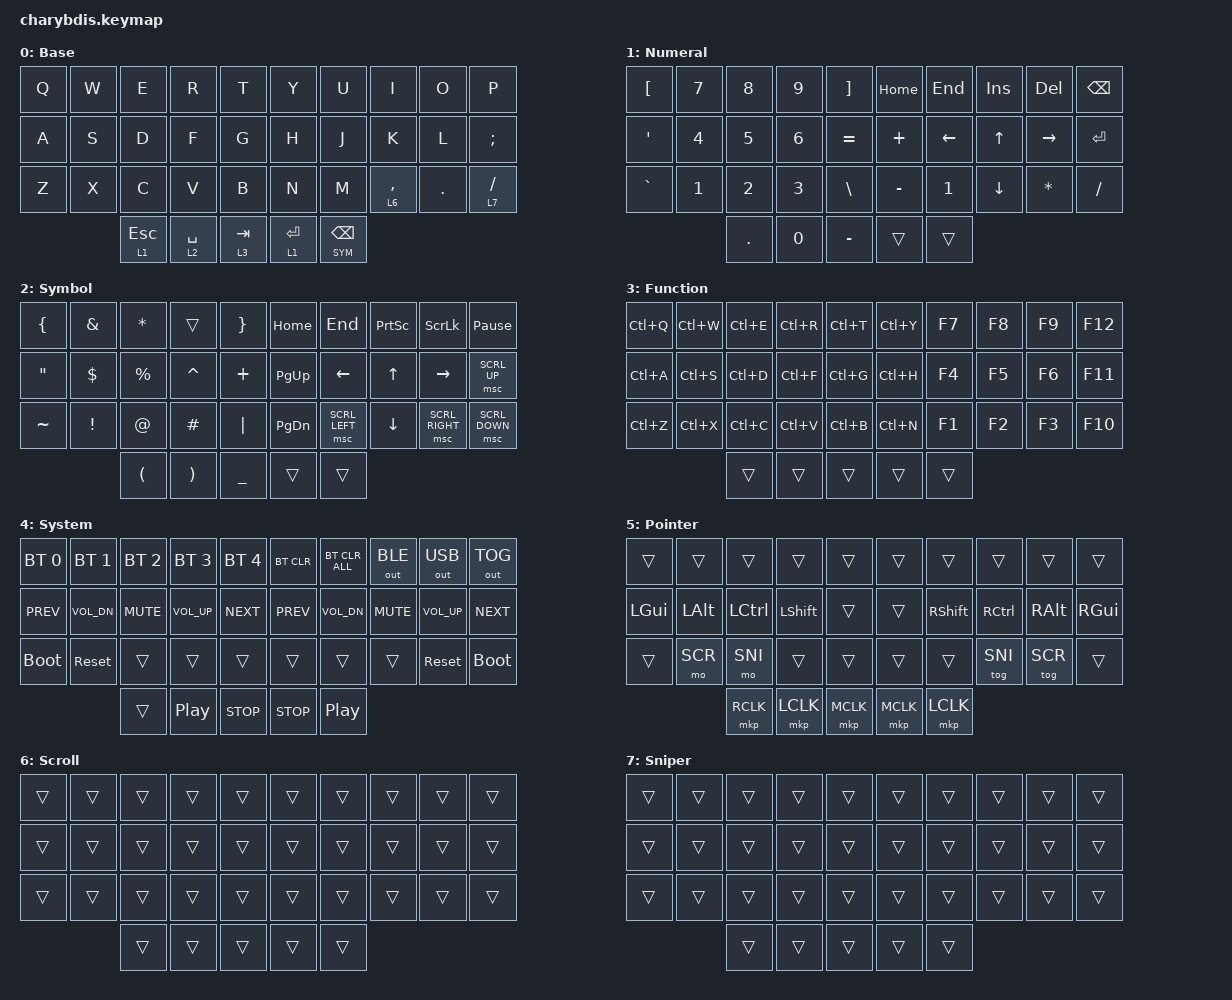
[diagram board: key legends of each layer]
#include <dt-bindings/zmk/mouse.h>
#include <behaviors/mouse_keys.dtsi>
#include <behaviors.dtsi>
#include <dt-bindings/zmk/bt.h>
#include <dt-bindings/zmk/keys.h>
#include <dt-bindings/zmk/outputs.h>

#define BASE 0
#define NUFU 1
#define SYM 2
#define NAV 3
#define MED 4
#define POI 5
#define SCR 6
#define SNI 7

&sl { release-after-ms = <250>; };

&mt {
    tapping-term-ms = <200>;
    quick-tap-ms = <150>;
    flavor = "tap-preferred";
};

&lt { quick-tap-ms = <180>; };

/ {
    chosen { zmk,matrix_transform = &five_column_transform; };

    behaviors {
        hml: homewrow_mods_left {
            compatible = "zmk,behavior-hold-tap";
            label = "HOMEROW_MODS_LEFT_HAND";
            bindings = <&kp>, <&kp>;

            #binding-cells = <2>;
            tapping-term-ms = <280>;
            hold-trigger-key-positions = <5 6 7 8 9 15 16 17 18 19 25 26 27 28 29 33 34>;
            flavor = "balanced";
            quick-tap-ms = <175>;
            require-prior-idle-ms = <125>;
            hold-trigger-on-release;
        };

        hmr: homewrow_mods_right {
            compatible = "zmk,behavior-hold-tap";
            label = "HOMEROW_MODS_RIGHT_HAND";
            bindings = <&kp>, <&kp>;

            #binding-cells = <2>;
            tapping-term-ms = <280>;
            hold-trigger-key-positions = <0 1 2 3 4 10 11 12 13 14 20 21 22 23 24 30 31 32>;
            flavor = "balanced";
            quick-tap-ms = <175>;
            require-prior-idle-ms = <125>;
            hold-trigger-on-release;
        };
    };

    combos {
        compatible = "zmk,combos";

        combo_lwin {
            bindings = <&kp LWIN>;
            key-positions = <14 13>;
            timeout-ms = <50>;
            require-prior-idle-ms = <100>;
            slow-release;
            layers = <0 1 2 3 5 6 7>;
        };

        combo_lshft {
            bindings = <&kp LSHIFT>;
            key-positions = <13 12>;
            timeout-ms = <50>;
            require-prior-idle-ms = <100>;
            slow-release;
            layers = <0 1 2 3 5 6 7>;
        };

        combo_lctrl {
            bindings = <&kp LCTRL>;
            key-positions = <12 11>;
            timeout-ms = <50>;
            require-prior-idle-ms = <100>;
            slow-release;
            layers = <0 1 2 3 5 6 7>;
        };

        combo_lalt {
            bindings = <&kp LALT>;
            key-positions = <11 10>;
            timeout-ms = <50>;
            require-prior-idle-ms = <100>;
            slow-release;
            layers = <0 1 2 3 5 6 7>;
        };

        combo_rwin {
            bindings = <&kp LWIN>;
            key-positions = <15 16>;
            timeout-ms = <50>;
            require-prior-idle-ms = <100>;
            slow-release;
            layers = <0 1 2 3 5 6 7>;
        };

        combo_rshft {
            bindings = <&kp LSHIFT>;
            key-positions = <17 16>;
            timeout-ms = <50>;
            require-prior-idle-ms = <100>;
            slow-release;
            layers = <0 1 2 3 5 6 7>;
        };

        combo_rctrl {
            bindings = <&kp LCTRL>;
            key-positions = <17 18>;
            timeout-ms = <50>;
            require-prior-idle-ms = <100>;
            slow-release;
            layers = <0 1 2 3 5 6 7>;
        };

        combo_ralt {
            bindings = <&kp LALT>;
            key-positions = <19 18>;
            timeout-ms = <50>;
            require-prior-idle-ms = <100>;
            slow-release;
            layers = <0 1 2 3 5 6 7>;
        };

        combo_lshft_lctrl {
            bindings = <&kp LC(LSHFT)>;
            key-positions = <13 12 11>;
            timeout-ms = <50>;
            require-prior-idle-ms = <100>;
            slow-release;
            layers = <0 1 2 3 5 6 7>;
        };

        combo_lshft_lalt {
            bindings = <&kp LS(LALT)>;
            key-positions = <13 12 10>;
            timeout-ms = <50>;
            require-prior-idle-ms = <100>;
            slow-release;
            layers = <0 1 2 3 5 6 7>;
        };

        combo_lctrl_lalt {
            bindings = <&kp LC(LALT)>;
            key-positions = <12 11 10>;
            timeout-ms = <50>;
            require-prior-idle-ms = <100>;
            slow-release;
            layers = <0 1 2 3 5 6 7>;
        };

        combo_lctrl_lwin {
            bindings = <&kp LC(LWIN)>;
            key-positions = <12 11 10 13>;
            timeout-ms = <50>;
            require-prior-idle-ms = <100>;
            slow-release;
            layers = <0 1 2 3 5 6 7>;
        };

        combo_rshft_rctrl {
            bindings = <&kp LC(LSHFT)>;
            key-positions = <16 17 18>;
            timeout-ms = <50>;
            require-prior-idle-ms = <100>;
            slow-release;
            layers = <0 1 2 3 5 6 7>;
        };

        combo_rshft_ralt {
            bindings = <&kp LS(LALT)>;
            key-positions = <16 17 19>;
            timeout-ms = <50>;
            require-prior-idle-ms = <100>;
            slow-release;
            layers = <0 1 2 3 5 6 7>;
        };

        combo_rctrl_ralt {
            bindings = <&kp LC(LALT)>;
            key-positions = <19 18 17>;
            timeout-ms = <50>;
            require-prior-idle-ms = <100>;
            slow-release;
            layers = <0 1 2 3 5 6 7>;
        };

        combo_rctrl_rwin {
            bindings = <&kp LC(LWIN)>;
            key-positions = <16 17 18 19>;
            timeout-ms = <50>;
            require-prior-idle-ms = <100>;
            slow-release;
            layers = <0 1 2 3 5 6 7>;
        };

        combo_undo {
            bindings = <&kp LC(Z)>;
            key-positions = <20 21>;
            timeout-ms = <50>;
            require-prior-idle-ms = <100>;
            slow-release;
            layers = <0 1 2 3 5 6 7>;
        };

        combo_copy {
            bindings = <&kp LC(C)>;
            key-positions = <21 22>;
            timeout-ms = <50>;
            require-prior-idle-ms = <100>;
            slow-release;
            layers = <0 1 2 3 5 6 7>;
        };

        combo_paste {
            bindings = <&kp LC(V)>;
            key-positions = <22 23>;
            timeout-ms = <50>;
            require-prior-idle-ms = <100>;
            slow-release;
            layers = <0 1 2 3 5 6 7>;
        };

        combo_cut {
            bindings = <&kp LC(X)>;
            key-positions = <23 21>;
            timeout-ms = <50>;
            require-prior-idle-ms = <100>;
            slow-release;
            layers = <0 1 2 3 5 6 7>;
        };

        combo_redo {
            bindings = <&kp LC(Y)>;
            key-positions = <23 24>;
            timeout-ms = <50>;
            require-prior-idle-ms = <100>;
            slow-release;
            layers = <0 1 2 3 5 6 7>;
        };

        combo_lang {
            bindings = <&kp RALT>;
            key-positions = <18 16>;
            timeout-ms = <50>;
            require-prior-idle-ms = <100>;
            slow-release;
            layers = <0 1 2 3 5 6 7>;
        };

        combo_hanja {
            bindings = <&kp RCTRL>;
            key-positions = <17 19>;
            timeout-ms = <50>;
            require-prior-idle-ms = <100>;
            slow-release;
            layers = <0 1 2 3 5 6 7>;
        };

        combo_lclk {
            bindings = <&mkp LCLK>;
            key-positions = <26 27>;
            timeout-ms = <50>;
            require-prior-idle-ms = <100>;
            slow-release;
            layers = <0 1 2 3 5 6 7>;
        };

        combo_rclk {
            bindings = <&mkp RCLK>;
            key-positions = <28 27>;
            timeout-ms = <50>;
            require-prior-idle-ms = <100>;
            slow-release;
            layers = <0 1 2 3 5 6 7>;
        };

        combo_mclk {
            bindings = <&mkp MCLK>;
            key-positions = <28 27 26>;
            timeout-ms = <50>;
            require-prior-idle-ms = <100>;
            slow-release;
            layers = <0 1 2 3 5 6 7>;
        };

        combo_prev {
            bindings = <&mkp MB4>;
            key-positions = <26 16>;
            timeout-ms = <50>;
            require-prior-idle-ms = <100>;
            slow-release;
            layers = <0 1 2 3 5 6 7>;
        };

        combo_next {
            bindings = <&mkp MB5>;
            key-positions = <27 17>;
            timeout-ms = <50>;
            require-prior-idle-ms = <100>;
            slow-release;
            layers = <0 1 2 3 5 6 7>;
        };

        combo_plus {
            bindings = <&kp PLUS>;
            key-positions = <4 14>;
            timeout-ms = <50>;
            require-prior-idle-ms = <100>;
            slow-release;
            layers = <1>;
        };

        combo_minus {
            bindings = <&kp MINUS>;
            key-positions = <3 13>;
            timeout-ms = <50>;
            require-prior-idle-ms = <100>;
            slow-release;
            layers = <1>;
        };

        combo_multiply {
            bindings = <&kp ASTRK>;
            key-positions = <2 12>;
            timeout-ms = <50>;
            require-prior-idle-ms = <100>;
            slow-release;
            layers = <1>;
        };

        combo_divide {
            bindings = <&kp SLASH>;
            key-positions = <1 11>;
            timeout-ms = <50>;
            require-prior-idle-ms = <100>;
            slow-release;
            layers = <1>;
        };

        combo_enter {
            bindings = <&kp ENTER>;
            key-positions = <14 24>;
            timeout-ms = <50>;
            require-prior-idle-ms = <100>;
            slow-release;
            layers = <1>;
        };

        combo_comma {
            bindings = <&kp COMMA>;
            key-positions = <23 13>;
            timeout-ms = <50>;
            require-prior-idle-ms = <100>;
            slow-release;
            layers = <1>;
        };

        combo_fun {
            bindings = <&mo 3>;
            key-positions = <33 34>;
            timeout-ms = <50>;
            slow-release;
            require-prior-idle-ms = <100>;
            layers = <0>;
        };
    };

    keymap {
        compatible = "zmk,keymap";

        Base {
            label = "Base";
            bindings = <
  &kp Q  &kp W  &kp E      &kp R        &kp T        &kp Y        &kp U         &kp I        &kp O    &kp P
  &kp A  &kp S  &kp D      &kp F        &kp G        &kp H        &kp J         &kp K        &kp L    &kp SEMI
  &kp Z  &kp X  &kp C      &kp V        &kp B        &kp N        &kp M         &lt 6 COMMA  &kp DOT  &lt 7 SLASH
                &lt 1 ESC  &lt 2 SPACE  &lt 3 TAB    &lt 1 ENTER  &lt SYM BSPC
            >;
        };

        Num {
            label = "Numeral";
            bindings = <
  &kp LBKT   &kp N7  &kp N8   &kp N9  &kp RBKT     &kp HOME   &kp END   &kp INS   &kp DEL    &kp BSPC
  &kp SQT    &kp N4  &kp N5   &kp N6  &kp EQUAL    &kp PLUS   &kp LEFT  &kp UP    &kp RIGHT  &kp ENTER
  &kp GRAVE  &kp N1  &kp N2   &kp N3  &kp BSLH     &kp MINUS  &kp N1    &kp DOWN  &kp ASTRK  &kp SLASH
                     &kp DOT  &kp N0  &kp MINUS    &trans     &trans
            >;
        };

        Symbol {
            label = "Symbol";
            bindings = <
  &kp LBRC   &kp AMPS  &kp STAR   &trans     &kp RIGHT_BRACE    &kp HOME   &kp END         &kp PRINTSCREEN  &kp SCROLLLOCK   &kp PAUSE_BREAK
  &kp DQT    &kp DLLR  &kp PRCNT  &kp CARET  &kp PLUS           &kp PG_UP  &kp LEFT        &kp UP           &kp RIGHT        &msc SCRL_UP
  &kp TILDE  &kp EXCL  &kp AT     &kp HASH   &kp PIPE           &kp PG_DN  &msc SCRL_LEFT  &kp DOWN         &msc SCRL_RIGHT  &msc SCRL_DOWN
                       &kp LPAR   &kp RPAR   &kp UNDER          &trans     &trans
            >;
        };

        Fun {
            label = "Function";
            bindings = <
  &kp LC(Q)  &kp LC(W)  &kp LC(E)  &kp LC(R)  &kp LC(T)    &kp LC(Y)  &kp F7  &kp F8  &kp F9  &kp F12
  &kp LC(A)  &kp LC(S)  &kp LC(D)  &kp LC(F)  &kp LC(G)    &kp LC(H)  &kp F4  &kp F5  &kp F6  &kp F11
  &kp LC(Z)  &kp LC(X)  &kp LC(C)  &kp LC(V)  &kp LC(B)    &kp LC(N)  &kp F1  &kp F2  &kp F3  &kp F10
                        &trans     &trans     &trans       &trans     &trans
            >;
        };

        Sys {
            label = "System";
            bindings = <
  &bt BT_SEL 0  &bt BT_SEL 1  &bt BT_SEL 2  &bt BT_SEL 3      &bt BT_SEL 4    &bt BT_CLR  &bt BT_CLR_ALL    &out OUT_BLE  &out OUT_USB  &out OUT_TOG
  &kp C_PREV    &kp C_VOL_DN  &kp C_MUTE    &kp C_VOL_UP      &kp C_NEXT      &kp C_PREV  &kp C_VOL_DN      &kp C_MUTE    &kp C_VOL_UP  &kp C_NEXT
  &bootloader   &sys_reset    &trans        &trans            &trans          &trans      &trans            &trans        &sys_reset    &bootloader
                              &trans        &kp C_PLAY_PAUSE  &kp C_STOP      &kp C_STOP  &kp C_PLAY_PAUSE
            >;
        };

        Pointer {
            label = "Pointer";
            bindings = <
  &trans    &trans    &trans     &trans     &trans       &trans     &trans     &trans     &trans    &trans
  &kp LGUI  &kp LALT  &kp LCTRL  &kp LSHFT  &trans       &trans     &kp RSHFT  &kp RCTRL  &kp RALT  &kp RGUI
  &trans    &mo SCR   &mo SNI    &trans     &trans       &trans     &trans     &tog SNI   &tog SCR  &trans
                      &mkp RCLK  &mkp LCLK  &mkp MCLK    &mkp MCLK  &mkp LCLK
            >;
        };

        Scroll {
            label = "Scroll";
            bindings = <
  &trans  &trans  &trans  &trans  &trans    &trans  &trans  &trans  &trans  &trans
  &trans  &trans  &trans  &trans  &trans    &trans  &trans  &trans  &trans  &trans
  &trans  &trans  &trans  &trans  &trans    &trans  &trans  &trans  &trans  &trans
                  &trans  &trans  &trans    &trans  &trans
            >;
        };

        Sniper {
            label = "Sniper";
            bindings = <
  &trans  &trans  &trans  &trans  &trans    &trans  &trans  &trans  &trans  &trans
  &trans  &trans  &trans  &trans  &trans    &trans  &trans  &trans  &trans  &trans
  &trans  &trans  &trans  &trans  &trans    &trans  &trans  &trans  &trans  &trans
                  &trans  &trans  &trans    &trans  &trans
            >;
        };
    };

    conditional_layers {
        compatible = "zmk,conditional-layers";

        Sys {
            if-layers = <1 3>;
            then-layer = <4>;
        };
    };
};
